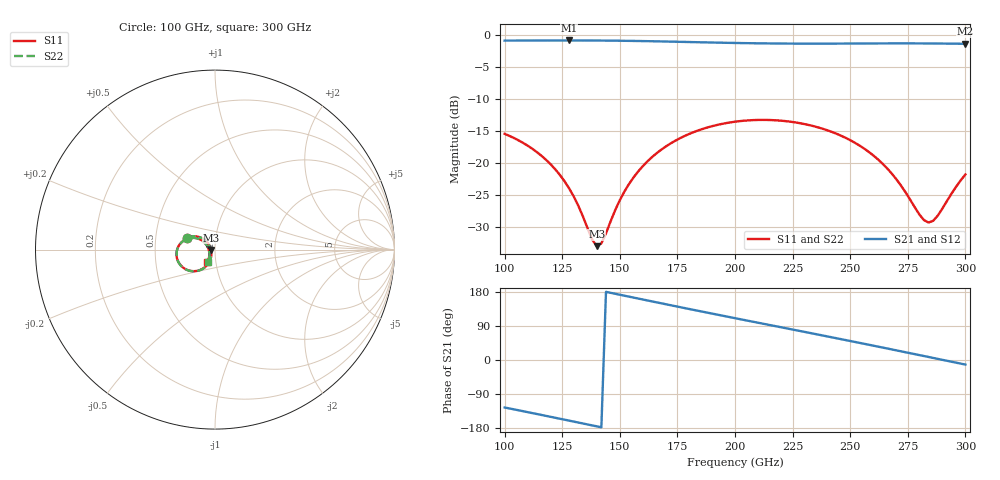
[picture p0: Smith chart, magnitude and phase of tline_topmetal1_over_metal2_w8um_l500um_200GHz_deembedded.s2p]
! Created with skrf 2.2.0 (http://scikit-rf.org).
# GHz S DB R 50.0
! Port[1] = P1
! Port[2] = P2
!freq dBS11 angS11 dBS21 angS21 dBS12 angS12 dBS22 angS22
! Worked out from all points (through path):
!   101 points, 100 GHz to 300 GHz, reference 50 ohm
!   highest |S21| = -0.85 dB at 128 GHz (marker M1); lowest = -1.4 dB at 300 GHz (marker M2)
!   group delay of S21, straight-line fit = 3.41 ps
!   lowest |S11| = -33.0 dB at 140 GHz (marker M3), VSWR 1.05, Z = 47.8 - j0.213 ohm
!   |S11| at or under -10 dB: start of sweep to end of sweep
!   |S22| runs from -33.1 to -13.3 dB; largest |S21 - S12| = 9.9e-14
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100  -15.44 157.5  -0.87 -125.3  -0.87 -125.3  -15.44 157.6
116  -18.87 141.8  -0.86 -145.0  -0.86 -145.0  -18.87 141.9
122  -20.99 137.6  -0.85 -152.5  -0.85 -152.5  -20.99 137.8
128  -23.96 136.4  -0.85 -160.0  -0.85 -160.0  -23.96 136.5
134  -28.35 144.1  -0.85 -167.5  -0.85 -167.5  -28.36 144.2
138  -31.96 165.7  -0.86 -172.6  -0.86 -172.6  -32.00 165.7
140  -32.99 -174.3  -0.86 -175.1  -0.86 -175.1  -33.06 -174.1
142  -32.55 -152.5  -0.87 -177.6  -0.87 -177.6  -32.62 -152.2
150  -25.81 -117.0  -0.89 172.2  -0.89 172.2  -25.82 -116.5
154  -23.27 -115.0  -0.91 167.2  -0.91 167.2  -23.28 -114.5
160  -20.48 -116.9  -0.95 159.6  -0.95 159.6  -20.48 -116.4
168  -17.91 -122.9  -1.00 149.6  -1.00 149.6  -17.91 -122.5
184  -14.91 -138.6  -1.13 129.8  -1.13 129.8  -14.91 -138.2
200  -13.54 -155.5  -1.24 110.4  -1.24 110.4  -13.54 -155.0
216  -13.29 -172.4  -1.32 91.2  -1.32 91.2  -13.29 -171.9
234  -14.23 169.2  -1.35 69.6  -1.35 69.6  -14.23 169.7
254  -17.26 151.2  -1.33 45.3  -1.33 45.3  -17.26 151.6
268  -21.63 145.1  -1.31 28.0  -1.31 28.0  -21.65 145.4
280  -28.02 166.5  -1.31 13.0  -1.31 13.0  -28.15 166.9
284  -29.29 -169.5  -1.32 8.0  -1.32 8.0  -29.45 -168.6
288  -28.22 -144.7  -1.33 3.0  -1.33 3.0  -28.34 -143.3
300  -21.78 -121.4  -1.37 -12.1  -1.37 -12.1  -21.80 -120.1
